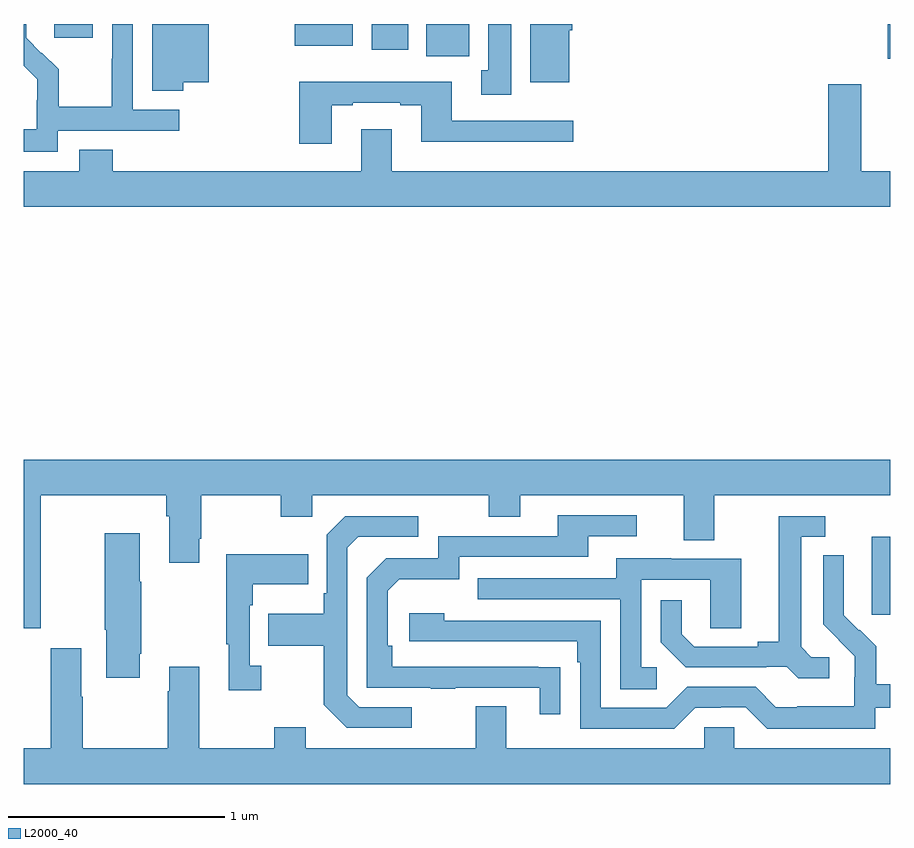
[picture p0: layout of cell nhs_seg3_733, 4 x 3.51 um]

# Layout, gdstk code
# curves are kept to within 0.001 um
import gdstk
lib = gdstk.Library(unit=1e-6, precision=1e-09)
def R(c, l, rs):  # rectangles x0, y0, x1, y1
    for r in rs: c.add(gdstk.rectangle(r[:2], r[2:], *l))
def P(c, l, *ps):  # polygons
    for p in ps: c.add(gdstk.Polygon(p, *l))
L2000_40 = (2000, 40)

nhs_seg3_733 = lib.new_cell('nhs_seg3_733')
R(nhs_seg3_733, L2000_40, [(150.914,725.673,151,726.034), (150.989,728.24,151,728.4), (148.859,728.252,149.056,728.4), (148.607,728.28,148.774,728.4), (148.25,728.3,148.519,728.4), (147.14,728.337,147.319,728.4)])
P(nhs_seg3_733, L2000_40, [(147.737,728.132),(147.853,728.132),(147.853,728.4),(147.593,728.4),(147.593,728.093),(147.737,728.093)],
  [(147.156,727.908),(147.718,727.908),(147.718,728.004),(147.504,728.004),(147.504,728.4),(147.408,728.4),(147.408,728.24),(147.406,728.24),(147.406,728.017),(147.161,728.017),(147.161,728.191),(147.084,728.268),(147.081,728.265),(147.011,728.336),(147.011,728.4),(147,728.4),(147,728.208),(147.062,728.146),(147.062,728.049),(147.06,728.049),(147.06,727.915),(147,727.915),(147,727.811),(147.156,727.811)],
  [(149.251,728.4),(149.144,728.4),(149.144,728.186),(149.111,728.186),(149.111,728.073),(149.251,728.073)],
  [(149.518,728.372),(149.531,728.372),(149.531,728.4),(149.339,728.4),(149.339,728.132),(149.518,728.132)],
  [(148.423,728.025),(148.519,728.025),(148.519,728.037),(148.739,728.037),(148.739,728.025),(148.835,728.025),(148.835,727.856),(149.536,727.856),(149.536,727.953),(148.975,727.953),(148.975,728.134),(148.271,728.134),(148.271,727.848),(148.423,727.848)],
  [(148.559,727.915),(148.559,727.72),(147.41,727.72),(147.41,727.819),(147.257,727.819),(147.257,727.72),(147,727.72),(147,727.556),(151,727.556),(151,727.72),(150.865,727.72),(150.865,728.122),(150.713,728.122),(150.713,727.72),(148.699,727.72),(148.699,727.915)],
  [(147.079,726.224),(147.659,726.224),(147.659,726.128),(147.671,726.128),(147.671,725.913),(147.811,725.913),(147.811,726.025),(147.819,726.025),(147.819,726.224),(148.186,726.224),(148.186,726.125),(148.332,726.125),(148.332,726.224),(149.146,726.224),(149.146,726.125),(149.293,726.125),(149.293,726.224),(150.047,726.224),(150.047,726.016),(150.187,726.016),(150.187,726.224),(151,726.224),(151,726.388),(147,726.388),(147,725.61),(147.079,725.61)],
  [(149.477,725.432),(148.7,725.433),(148.7,725.53),(148.68,725.53),(148.68,725.784),(148.733,725.837),(149.01,725.837),(149.01,725.94),(149.605,725.94),(149.605,726.036),(149.83,726.036),(149.83,726.132),(149.465,726.132),(149.465,726.036),(148.914,726.036),(148.914,725.934),(148.674,725.934),(148.584,725.844),(148.584,725.337),(148.879,725.337),(148.879,725.332),(148.991,725.332),(148.991,725.337),(149.381,725.337),(149.381,725.214),(149.477,725.214)],
  [(150.718,725.478),(150.636,725.478),(150.589,725.525),(150.589,726.033),(150.7,726.033),(150.7,726.129),(150.485,726.129),(150.485,725.549),(150.389,725.549),(150.389,725.526),(150.094,725.526),(150.037,725.583),(150.037,725.74),(149.94,725.74),(149.94,725.546),(150.056,725.43),(150.428,725.43),(150.428,725.433),(150.522,725.433),(150.574,725.381),(150.718,725.381)],
  [(148.792,725.247),(148.548,725.247),(148.494,725.301),(148.494,725.982),(148.545,726.033),(148.822,726.033),(148.822,726.129),(148.485,726.129),(148.398,726.042),(148.398,725.773),(148.386,725.773),(148.386,725.677),(148.129,725.677),(148.129,725.53),(148.386,725.53),(148.386,725.257),(148.491,725.151),(148.792,725.151)],
  [(147.535,725.494),(147.543,725.494),(147.543,725.825),(147.535,725.825),(147.535,726.049),(147.373,726.049),(147.373,725.605),(147.38,725.605),(147.38,725.382),(147.535,725.382)],
  [(148.096,725.438),(148.044,725.438),(148.044,725.717),(148.057,725.717),(148.057,725.813),(148.313,725.813),(148.313,725.953),(147.936,725.953),(147.936,725.537),(147.947,725.537),(147.947,725.325),(148.096,725.325)],
  [(150.93,725.244),(151,725.244),(151,725.353),(150.935,725.353),(150.935,725.527),(150.858,725.604),(150.855,725.601),(150.785,725.672),(150.786,725.948),(150.69,725.948),(150.69,725.63),(150.836,725.482),(150.836,725.385),(150.834,725.385),(150.834,725.251),(150.571,725.251),(150.571,725.247),(150.471,725.247),(150.378,725.34),(150.063,725.34),(149.967,725.244),(149.664,725.244),(149.664,725.646),(148.94,725.646),(148.94,725.68),(148.779,725.68),(148.779,725.55),(149.555,725.55),(149.555,725.453),(149.568,725.453),(149.568,725.148),(150.003,725.148),(150.099,725.244),(150.218,725.244),(150.218,725.247),(150.333,725.247),(150.433,725.147),(150.93,725.147)],
  [(149.923,725.43),(149.85,725.43),(149.85,725.835),(150.168,725.835),(150.168,725.611),(150.313,725.611),(150.313,725.931),(149.989,725.931),(149.989,725.935),(149.735,725.935),(149.735,725.841),(149.095,725.841),(149.095,725.745),(149.754,725.745),(149.754,725.329),(149.923,725.329)],
  [(147.125,725.518),(147.125,725.056),(147,725.056),(147,724.892),(151,724.892),(151,725.056),(150.279,725.056),(150.279,725.154),(150.141,725.154),(150.141,725.056),(149.227,725.056),(149.227,725.251),(149.087,725.251),(149.087,725.056),(148.303,725.056),(148.303,725.155),(148.156,725.155),(148.156,725.056),(147.811,725.056),(147.811,725.434),(147.671,725.434),(147.671,725.321),(147.664,725.321),(147.664,725.056),(147.273,725.056),(147.273,725.294),(147.265,725.294),(147.265,725.518)])

lib.write_gds('nhs_seg3_733.gds')
